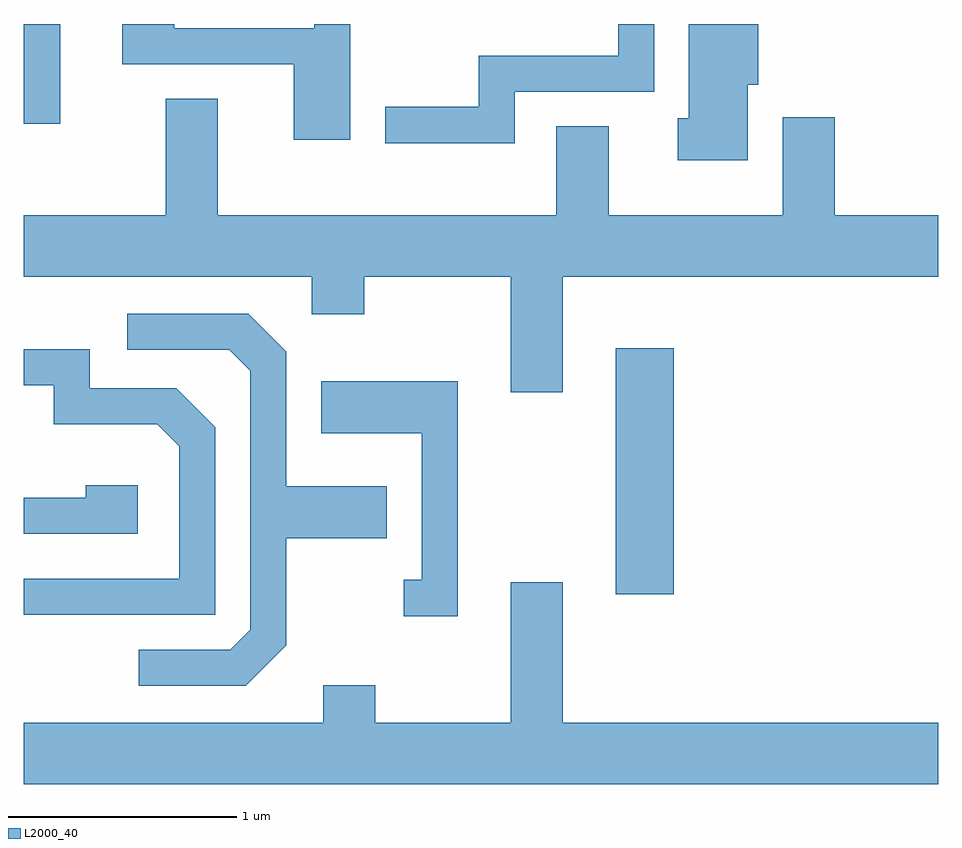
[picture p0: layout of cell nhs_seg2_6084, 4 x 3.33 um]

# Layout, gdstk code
import gdstk
lib = gdstk.Library(unit=1e-6, precision=1e-09)
def R(c, l, rs):  # rectangles x0, y0, x1, y1
    for r in rs: c.add(gdstk.rectangle(r[:2], r[2:], *l))
def P(c, l, *ps):  # polygons
    for p in ps: c.add(gdstk.Polygon(p, *l))
L2000_40 = (2000, 40)

nhs_seg2_6084 = lib.new_cell('nhs_seg2_6084')
R(nhs_seg2_6084, L2000_40, [(366.201,1111.306,366.454,1112.384), (363.611,1113.366,363.769,1113.802)])
P(nhs_seg2_6084, L2000_40, [(366.779,1113.536),(366.824,1113.536),(366.824,1113.802),(366.521,1113.802),(366.521,1113.389),(366.471,1113.389),(366.471,1113.206),(366.779,1113.206)],
  [(365.759,1113.506),(366.369,1113.506),(366.369,1113.802),(366.211,1113.802),(366.211,1113.664),(365.601,1113.664),(365.601,1113.439),(365.193,1113.439),(365.193,1113.281),(365.759,1113.281)],
  [(365.039,1113.802),(364.881,1113.802),(364.881,1113.784),(364.269,1113.784),(364.269,1113.802),(364.041,1113.802),(364.041,1113.626),(364.791,1113.626),(364.791,1113.296),(365.039,1113.296)],
  [(365.969,1112.696),(367.611,1112.696),(367.611,1112.964),(367.159,1112.964),(367.159,1113.394),(366.931,1113.394),(366.931,1112.964),(366.169,1112.964),(366.169,1113.354),(365.941,1113.354),(365.941,1112.964),(364.459,1112.964),(364.459,1113.474),(364.231,1113.474),(364.231,1112.964),(363.611,1112.964),(363.611,1112.696),(364.871,1112.696),(364.871,1112.531),(365.099,1112.531),(365.099,1112.696),(365.741,1112.696),(365.741,1112.191),(365.969,1112.191)],
  [(364.759,1111.084),(364.759,1111.551),(365.199,1111.551),(365.199,1111.779),(364.759,1111.779),(364.759,1112.367),(364.592,1112.534),(364.063,1112.534),(364.063,1112.376),(364.509,1112.376),(364.601,1112.284),(364.601,1111.152),(364.514,1111.064),(364.113,1111.064),(364.113,1110.906),(364.582,1110.906)],
  [(364.449,1112.037),(364.277,1112.209),(363.899,1112.209),(363.899,1112.379),(363.611,1112.379),(363.611,1112.221),(363.741,1112.221),(363.741,1112.051),(364.194,1112.051),(364.291,1111.954),(364.291,1111.374),(363.611,1111.374),(363.611,1111.216),(364.449,1111.216)],
  [(365.509,1112.239),(364.911,1112.239),(364.911,1112.011),(365.351,1112.011),(365.351,1111.369),(365.273,1111.369),(365.273,1111.211),(365.509,1111.211)],
  [(364.109,1111.784),(363.881,1111.784),(363.881,1111.729),(363.611,1111.729),(363.611,1111.571),(364.109,1111.571)],
  [(367.611,1110.744),(365.969,1110.744),(365.969,1111.359),(365.741,1111.359),(365.741,1110.744),(365.149,1110.744),(365.149,1110.909),(364.921,1110.909),(364.921,1110.744),(363.611,1110.744),(363.611,1110.476),(367.611,1110.476)])

lib.write_gds('nhs_seg2_6084.gds')
